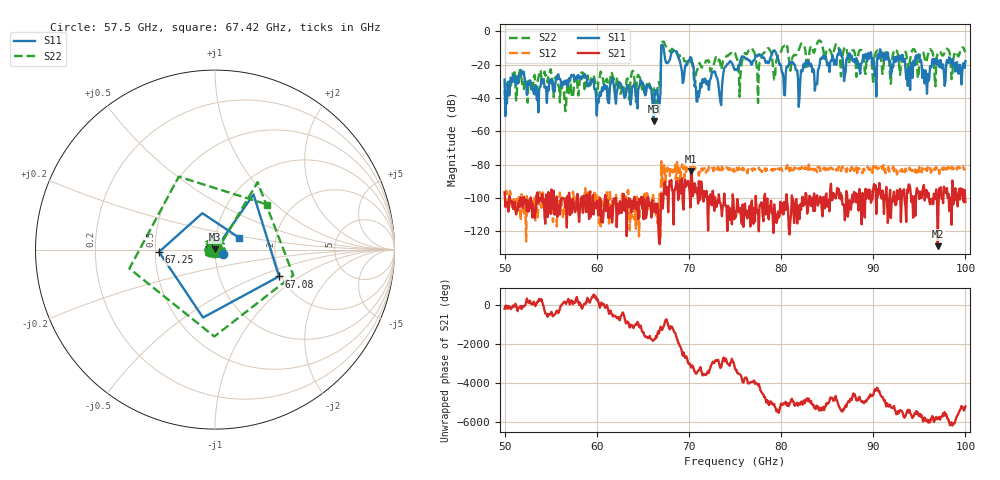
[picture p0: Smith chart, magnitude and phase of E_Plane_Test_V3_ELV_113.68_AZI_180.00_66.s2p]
! 11/26/2026 4:43:45 PM
! C:\ANRITSUVNA\TEMP\TEMP.S2P
! CHANNEL.1
! TR.MEASUREMENT
! RAW.DATA
# HZ S RI R 50.0
! FREQ.HZ  S11RE  S11IM  S21RE  S21IM  S12RE  S12IM  S22RE  S22IM
!; PortSelection: Port_12
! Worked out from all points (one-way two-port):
!   601 points, 50 GHz to 100 GHz, reference 50 ohm
!   highest |S21| = -83.90 dB at 70.25 GHz (marker M1); lowest = -128.9 dB at 97 GHz (marker M2)
!   lowest |S11| = -54.1 dB at 66.17 GHz (marker M3), VSWR 1.00, Z = 50.1 + j0.144 ohm
!   |S11| at or under -10 dB: start of sweep to 67 GHz; 67.24 GHz to end of sweep
!   |S22| runs from -47.9 to -5.6 dB; largest |S21 - S12| = 0.00013
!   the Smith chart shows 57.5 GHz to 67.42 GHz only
!   S11 on the Smith chart (normalised r, x): 57.5 GHz: 1.09, -0.05; 67.08 GHz: 1.95, -0.69; 67.25 GHz: 0.52, -0.02; 67.42 GHz: 1.29, +0.18
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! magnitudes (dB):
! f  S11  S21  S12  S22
! 50 GHz  -29.0  -96.6  -105.4  -35.8
! 51.67 GHz  -26.3  -105.3  -103.9  -23.3
! 53.42 GHz  -34.8  -105.9  -98.3  -35.3
! 57.5 GHz  -26.1  -104.5  -98.8  -34.7
! 58.42 GHz  -27.1  -99.2  -98.4  -24.7
! 60.17 GHz  -42.9  -110.5  -99.3  -30.4
! 66.17 GHz  -54.1  -108.1  -100.4  -34.0
! 66.67 GHz  -41.5  -114.9  -108.5  -31.6
! 67.08 GHz  -8.3  -106.1  -92.3  -6.8
! 67.25 GHz  -10.1  -98.7  -81.9  -6.2
! 67.42 GHz  -16.5  -90.7  -97.4  -8.3
! 70.25 GHz  -16.0  -83.9  -84.8  -18.8
! 70.92 GHz  -42.2  -97.5  -82.9  -23.1
! 75 GHz  -23.3  -108.2  -83.0  -13.0
! 79.25 GHz  -11.5  -103.8  -82.6  -29.0
! 80.25 GHz  -27.9  -109.9  -83.3  -9.3
! 83.42 GHz  -24.6  -99.8  -81.1  -10.8
! 91.67 GHz  -16.7  -108.3  -81.4  -15.2
! 94.83 GHz  -15.0  -96.7  -83.0  -28.2
! 95.83 GHz  -37.5  -95.6  -83.8  -16.6
! 97 GHz  -17.5  -128.9  -82.0  -13.3
! 100 GHz  -17.9  -102.4  -82.4  -12.6
